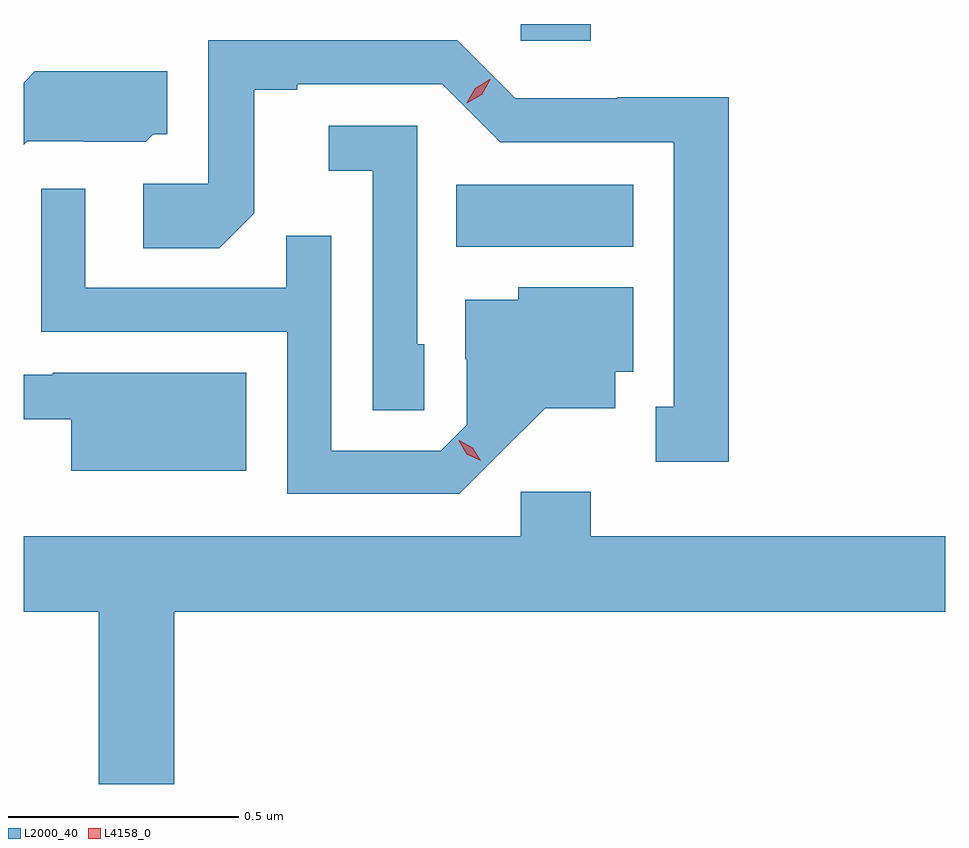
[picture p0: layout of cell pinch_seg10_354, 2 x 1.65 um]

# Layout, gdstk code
import gdstk
lib = gdstk.Library(unit=1e-6, precision=1e-09)
def R(c, l, rs):  # rectangles x0, y0, x1, y1
    for r in rs: c.add(gdstk.rectangle(r[:2], r[2:], *l))
def P(c, l, *ps):  # polygons
    for p in ps: c.add(gdstk.Polygon(p, *l))
L2000_40 = (2000, 40)
L4158_0 = (4158, 0)

pinch_seg10_354 = lib.new_cell('pinch_seg10_354')
R(pinch_seg10_354, L2000_40, [(489.46,1287.788,489.844,1287.922), (489.6,1288.235,489.752,1288.271)])
P(pinch_seg10_354, L2000_40, [(490.051,1288.112),(489.81,1288.112),(489.81,1288.11),(489.588,1288.11),(489.462,1288.236),(488.922,1288.236),(488.922,1287.924),(488.781,1287.924),(488.781,1287.784),(488.945,1287.784),(489.021,1287.86),(489.021,1288.128),(489.115,1288.128),(489.115,1288.14),(489.429,1288.14),(489.555,1288.014),(489.932,1288.014),(489.932,1287.441),(489.893,1287.441),(489.893,1287.321),(490.051,1287.321)],
  [(488.529,1288.017),(488.652,1288.017),(488.652,1288.016),(488.786,1288.016),(488.802,1288.032),(488.833,1288.032),(488.833,1288.168),(488.545,1288.168),(488.521,1288.144),(488.521,1288.009)],
  [(489.39,1287.576),(489.375,1287.576),(489.375,1288.05),(489.183,1288.05),(489.183,1287.953),(489.279,1287.953),(489.279,1287.433),(489.39,1287.433)],
  [(489.55,1287.335),(489.653,1287.437),(489.805,1287.437),(489.805,1287.516),(489.844,1287.516),(489.844,1287.7),(489.594,1287.7),(489.594,1287.673),(489.479,1287.673),(489.479,1287.544),(489.483,1287.544),(489.483,1287.402),(489.426,1287.345),(489.189,1287.345),(489.189,1287.812),(489.091,1287.812),(489.091,1287.699),(488.655,1287.699),(488.655,1287.913),(488.559,1287.913),(488.559,1287.603),(489.093,1287.603),(489.093,1287.252),(489.466,1287.252)],
  [(489.004,1287.514),(488.584,1287.514),(488.584,1287.51),(488.521,1287.51),(488.521,1287.413),(488.624,1287.413),(488.624,1287.302),(489.004,1287.302)],
  [(488.848,1286.996),(490.521,1286.996),(490.521,1287.16),(489.752,1287.16),(489.752,1287.256),(489.6,1287.256),(489.6,1287.16),(488.521,1287.16),(488.521,1286.996),(488.684,1286.996),(488.684,1286.622),(488.848,1286.622)])
P(pinch_seg10_354, L4158_0, [(489.483,1288.099),(489.483,1288.1),(489.501,1288.132),(489.532,1288.151),(489.533,1288.151),(489.533,1288.15),(489.515,1288.118),(489.483,1288.099)],
  [(489.513,1287.323),(489.482,1287.338),(489.465,1287.367),(489.465,1287.368),(489.466,1287.368),(489.496,1287.352),(489.513,1287.323),(489.513,1287.323)])

lib.write_gds('pinch_seg10_354.gds')
